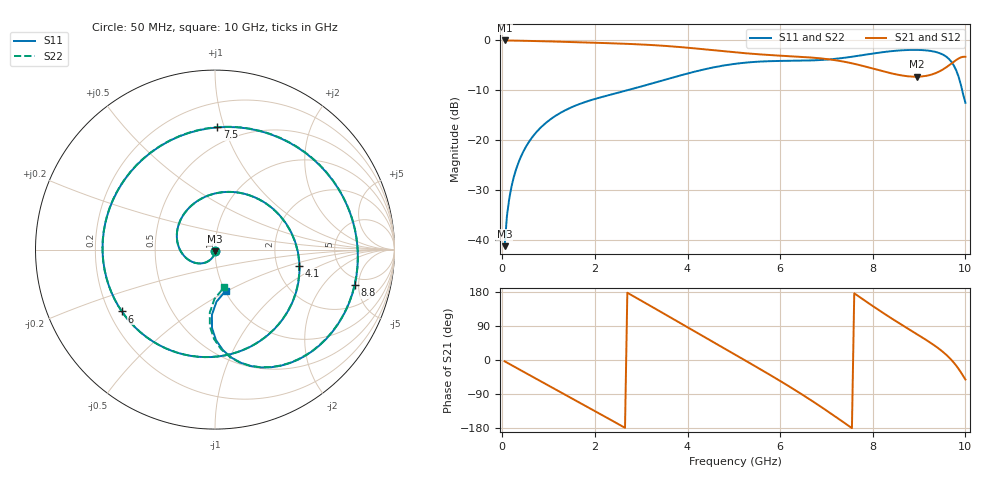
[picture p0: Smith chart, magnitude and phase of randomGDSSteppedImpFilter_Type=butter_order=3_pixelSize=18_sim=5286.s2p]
! freq	dB(S11)	phase(S11)	dB(S12)	phase(S12)
!  dB(S21)	phase(S21)	dB(S22)	phase(S22)
!S-par simulation data
#  GHz  S  DB  R 50
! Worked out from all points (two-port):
!   200 points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, 50 MHz to 10 GHz, reference 50 ohm
!   highest |S21| = -0.01 dB at 50 MHz (marker M1); lowest = -7.3 dB at 8.95 GHz (marker M2)
!   |S21| within 3 dB of the highest: start of sweep to 5.914 GHz
!   lowest |S11| = -41.2 dB at 50 MHz (marker M3), VSWR 1.02, Z = 50 - j0.868 ohm
!   |S11| at or under -10 dB: start of sweep to 2.693 GHz; 9.931 GHz to end of sweep
!   |S22| runs from -41.2 to -1.9 dB; largest |S21 - S12| = 0
!   S11 on the Smith chart (normalised r, x): 50 MHz: 1.00, -0.02; 4.1 GHz: 2.67, -0.62; 6 GHz: 0.25, -0.28; 7.5 GHz: 0.37, +0.95; 8.8 GHz: 4.00, -4.48; 10 GHz: 1.01, -0.49
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0.05  -41.22 -91.3  -0.01 -3.4  -0.01 -3.4  -41.22 -91.3
0.2  -29.23 -103.1  -0.03 -13.6  -0.03 -13.6  -29.23 -103.1
0.5  -21.48 -124.2  -0.08 -33.9  -0.08 -33.9  -21.48 -124.1
1.15  -15.10 -168.4  -0.23 -77.5  -0.23 -77.5  -15.10 -168.3
1.75  -12.46 151.2  -0.40 -117.8  -0.40 -117.8  -12.46 151.3
2.2  -11.21 120.8  -0.53 -148.2  -0.53 -148.2  -11.21 120.8
2.6  -10.23 93.7  -0.65 -175.6  -0.65 -175.6  -10.23 93.6
3.4  -8.18 38.2  -1.02 128.6  -1.02 128.6  -8.18 37.9
4.1  -6.39 -10.8  -1.55 79.2  -1.55 79.2  -6.39 -11.3
4.6  -5.33 -45.9  -2.00 44.0  -2.00 44.0  -5.33 -46.4
5.05  -4.66 -77.6  -2.40 12.5  -2.40 12.5  -4.66 -78.1
5.5  -4.27 -109.6  -2.75 -19.2  -2.75 -19.2  -4.27 -110.0
6  -4.11 -146.4  -3.06 -55.2  -3.06 -55.2  -4.11 -146.4
6.7  -4.00 158.1  -3.45 -108.8  -3.45 -108.8  -3.99 158.7
7.5  -3.34 89.0  -4.49 -175.5  -4.49 -175.5  -3.34 90.2
7.9  -2.77 54.7  -5.39 150.7  -5.39 150.7  -2.78 55.9
8.35  -2.20 18.6  -6.49 114.1  -6.49 114.1  -2.21 19.7
8.8  -1.91 -14.3  -7.22 79.7  -7.22 79.7  -1.91 -13.6
8.95  -1.90 -24.8  -7.27 68.4  -7.27 68.4  -1.91 -24.2
9.55  -3.03 -68.5  -5.61 17.8  -5.61 17.8  -3.06 -68.8
9.8  -5.95 -89.4  -3.94 -14.6  -3.94 -14.6  -6.06 -90.6
10  -12.49 -75.6  -3.28 -51.4  -3.28 -51.4  -13.27 -76.7
